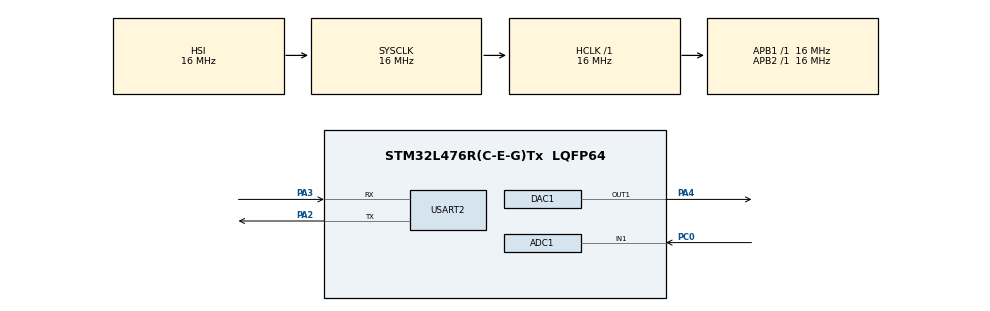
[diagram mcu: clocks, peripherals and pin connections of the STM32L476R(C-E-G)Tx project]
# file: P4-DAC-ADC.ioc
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ADC1.Channel-1\#ChannelRegularConversion=ADC_CHANNEL_1
ADC1.NbrOfConversionFlag=1
ADC1.OffsetNumber-1\#ChannelRegularConversion=ADC_OFFSET_NONE
ADC1.Rank-1\#ChannelRegularConversion=1
ADC1.SamplingTime-1\#ChannelRegularConversion=ADC_SAMPLETIME_2CYCLES_5
ADC1.master=1
Mcu.Family=STM32L4
Mcu.Name=STM32L476R(C-E-G)Tx
Mcu.Package=LQFP64
NVIC.PriorityGroup=NVIC_PRIORITYGROUP_4
NVIC.TIM2_IRQn=true\:0\:0\:false\:false\:true\:true\:true
PA2.Mode=Asynchronous
PA2.Signal=USART2_TX
PA3.Mode=Asynchronous
PA3.Signal=USART2_RX
PA4.Signal=COMP_DAC11_group
PC0.Signal=ADCx_IN1
ProjectManager.HeapSize=0x200
ProjectManager.StackSize=0x400
ProjectManager.TargetToolchain=STM32CubeIDE
RCC.ADCCLockSelection=RCC_ADCCLKSOURCE_SYSCLK
RCC.ADCFreq_Value=16000000
RCC.AHBFreq_Value=16000000
RCC.APB1Freq_Value=16000000
RCC.APB1TimFreq_Value=16000000
RCC.APB2Freq_Value=16000000
RCC.APB2TimFreq_Value=16000000
RCC.CortexFreq_Value=16000000
RCC.HCLKFreq_Value=16000000
RCC.HSE_VALUE=8000000
RCC.HSI_VALUE=16000000
RCC.LSE_VALUE=32768
RCC.MSI_VALUE=4000000
RCC.PLLSAI1N=16
RCC.SYSCLKFreq_VALUE=16000000
RCC.SYSCLKSource=RCC_SYSCLKSOURCE_HSI
RCC.USBFreq_Value=32000000
RCC.VCOOutputFreq_Value=32000000
SH.ADCx_IN1.0=ADC1_IN1,IN1-Single-Ended
SH.COMP_DAC11_group.0=DAC1_OUT1,DAC_OUT1
TIM2.Prescaler=0
USART2.VirtualMode-Asynchronous=VM_ASYNC
VP_TIM2_VS_ClockSourceINT.Mode=Internal
board=custom

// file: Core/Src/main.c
/* USER CODE BEGIN Header */
/**
  ******************************************************************************
  * @file           : main.c
  * @brief          : Main program body
  ******************************************************************************
  * @attention
  *
  * <h2><center>&copy; Copyright (c) 2021 STMicroelectronics.
  * All rights reserved.</center></h2>
  *
  * This software component is licensed by ST under BSD 3-Clause license,
  * the "License"; You may not use this file except in compliance with the
  * License. You may obtain a copy of the License at:
  *                        opensource.org/licenses/BSD-3-Clause
  *
  ******************************************************************************
  */
/* USER CODE END Header */
#include "main.h"

ADC_HandleTypeDef hadc1;

DAC_HandleTypeDef hdac1;

TIM_HandleTypeDef htim2;

UART_HandleTypeDef huart2;

/* USER CODE BEGIN PV */
// Triangle wave buffer containing all 8192 samples of the triangle wave.
uint16_t tri_wave[8192];
// Control signals used in both main and timer interrupt methods.
int sampling_en = 1;
int num_samples = 0;
int iter = 1;
int new_iter = 1;
/* USER CODE END PV */

void SystemClock_Config(void);
static void MX_GPIO_Init(void);
static void MX_ADC1_Init(void);
static void MX_DAC1_Init(void);
static void MX_TIM2_Init(void);
static void MX_USART2_UART_Init(void);

int main(void)
{

  /* MCU Configuration--------------------------------------------------------*/

  /* Reset of all peripherals, Initializes the Flash interface and the Systick. */
  HAL_Init();

  /* Configure the system clock */
  SystemClock_Config();

  /* Initialize all configured peripherals */
  MX_GPIO_Init();
  MX_ADC1_Init();
  MX_DAC1_Init();
  MX_TIM2_Init();
  MX_USART2_UART_Init();
  /* USER CODE BEGIN 2 */
  println("P4-DAC-ADC by Chris Abajian (cxa6282@rit.edu)");
  /* USER CODE END 2 */

  /* Infinite loop */
  /* USER CODE BEGIN WHILE */
  // Load the initial triangle wave to a buffer.
  for (int i = 0; i < 4096; i++) {
	  tri_wave[i] = i;
	  tri_wave[8191-i] = i;
  }

  // Start the timer.
  htim2.Instance->CR1 |= TIM_CR1_CEN;

  // Loop variables.
  uwTick = 0;
  uint32_t prev_tick = HAL_GetTick();

  while (1) {
    /* USER CODE END WHILE */

    /* USER CODE BEGIN 3 */
	// Print every 2ms.
	uint32_t now = HAL_GetTick();
	if ((now - prev_tick) >= 2) {
		prev_tick = now;
		// Print to the terminal on the 1st and 10th iterations.
		if (sampling_en && ((iter == 1) || (iter == 10)) && (num_samples > 0)) {
			char buff[64];
			if (new_iter) {
				new_iter = 0;
				sprintf(buff, "\r\nITERATION %d\r\nTIME,DAC,ADC", iter);
				println(buff);
			}
			sprintf(buff, "%ldms,%ld,%d", now, hdac1.Instance->DHR12R1, tri_wave[num_samples-1]);
			println(buff);
		}
	}
  }
  /* USER CODE END 3 */
}

void SystemClock_Config(void)
{
  RCC_OscInitTypeDef RCC_OscInitStruct = {0};
  RCC_ClkInitTypeDef RCC_ClkInitStruct = {0};

  /** Configure the main internal regulator output voltage
  */
  if (HAL_PWREx_ControlVoltageScaling(PWR_REGULATOR_VOLTAGE_SCALE1) != HAL_OK)
  {
    Error_Handler();
  }
  /** Initializes the RCC Oscillators according to the specified parameters
  * in the RCC_OscInitTypeDef structure.
  */
  RCC_OscInitStruct.OscillatorType = RCC_OSCILLATORTYPE_HSI;
  RCC_OscInitStruct.HSIState = RCC_HSI_ON;
  RCC_OscInitStruct.HSICalibrationValue = RCC_HSICALIBRATION_DEFAULT;
  RCC_OscInitStruct.PLL.PLLState = RCC_PLL_NONE;
  if (HAL_RCC_OscConfig(&RCC_OscInitStruct) != HAL_OK)
  {
    Error_Handler();
  }
  /** Initializes the CPU, AHB and APB buses clocks
  */
  RCC_ClkInitStruct.ClockType = RCC_CLOCKTYPE_HCLK|RCC_CLOCKTYPE_SYSCLK
                              |RCC_CLOCKTYPE_PCLK1|RCC_CLOCKTYPE_PCLK2;
  RCC_ClkInitStruct.SYSCLKSource = RCC_SYSCLKSOURCE_HSI;
  RCC_ClkInitStruct.AHBCLKDivider = RCC_SYSCLK_DIV1;
  RCC_ClkInitStruct.APB1CLKDivider = RCC_HCLK_DIV1;
  RCC_ClkInitStruct.APB2CLKDivider = RCC_HCLK_DIV1;

  if (HAL_RCC_ClockConfig(&RCC_ClkInitStruct, FLASH_LATENCY_0) != HAL_OK)
  {
    Error_Handler();
  }
}

static void MX_ADC1_Init(void)
{

  ADC_MultiModeTypeDef multimode = {0};
  ADC_ChannelConfTypeDef sConfig = {0};

  /** Common config
  */
  hadc1.Instance = ADC1;
  hadc1.Init.ClockPrescaler = ADC_CLOCK_ASYNC_DIV1;
  hadc1.Init.Resolution = ADC_RESOLUTION_12B;
  hadc1.Init.DataAlign = ADC_DATAALIGN_RIGHT;
  hadc1.Init.ScanConvMode = ADC_SCAN_DISABLE;
  hadc1.Init.EOCSelection = ADC_EOC_SINGLE_CONV;
  hadc1.Init.LowPowerAutoWait = DISABLE;
  hadc1.Init.ContinuousConvMode = DISABLE;
  hadc1.Init.NbrOfConversion = 1;
  hadc1.Init.DiscontinuousConvMode = DISABLE;
  hadc1.Init.ExternalTrigConv = ADC_SOFTWARE_START;
  hadc1.Init.ExternalTrigConvEdge = ADC_EXTERNALTRIGCONVEDGE_NONE;
  hadc1.Init.DMAContinuousRequests = DISABLE;
  hadc1.Init.Overrun = ADC_OVR_DATA_PRESERVED;
  hadc1.Init.OversamplingMode = DISABLE;
  if (HAL_ADC_Init(&hadc1) != HAL_OK)
  {
    Error_Handler();
  }
  /** Configure the ADC multi-mode
  */
  multimode.Mode = ADC_MODE_INDEPENDENT;
  if (HAL_ADCEx_MultiModeConfigChannel(&hadc1, &multimode) != HAL_OK)
  {
    Error_Handler();
  }
  /** Configure Regular Channel
  */
  sConfig.Channel = ADC_CHANNEL_1;
  sConfig.Rank = ADC_REGULAR_RANK_1;
  sConfig.SamplingTime = ADC_SAMPLETIME_2CYCLES_5;
  sConfig.SingleDiff = ADC_SINGLE_ENDED;
  sConfig.OffsetNumber = ADC_OFFSET_NONE;
  sConfig.Offset = 0;
  if (HAL_ADC_ConfigChannel(&hadc1, &sConfig) != HAL_OK)
  {
    Error_Handler();
  }
  /* USER CODE BEGIN ADC1_Init 2 */
  HAL_ADCEx_Calibration_Start(&hadc1, ADC_SINGLE_ENDED);
  HAL_ADC_Start(&hadc1);
  /* USER CODE END ADC1_Init 2 */

}

static void MX_DAC1_Init(void)
{

  DAC_ChannelConfTypeDef sConfig = {0};

  /** DAC Initialization
  */
  hdac1.Instance = DAC1;
  if (HAL_DAC_Init(&hdac1) != HAL_OK)
  {
    Error_Handler();
  }
  /** DAC channel OUT1 config
  */
  sConfig.DAC_SampleAndHold = DAC_SAMPLEANDHOLD_DISABLE;
  sConfig.DAC_Trigger = DAC_TRIGGER_NONE;
  sConfig.DAC_OutputBuffer = DAC_OUTPUTBUFFER_ENABLE;
  sConfig.DAC_ConnectOnChipPeripheral = DAC_CHIPCONNECT_DISABLE;
  sConfig.DAC_UserTrimming = DAC_TRIMMING_FACTORY;
  if (HAL_DAC_ConfigChannel(&hdac1, &sConfig, DAC_CHANNEL_1) != HAL_OK)
  {
    Error_Handler();
  }
  /* USER CODE BEGIN DAC1_Init 2 */
  // Generate max amplitude (4096) triangle waves using software trigger.
//  hdac1.Instance->CR |= DAC_CR_MAMP1;
//  hdac1.Instance->CR |= DAC_CR_WAVE1_1;
  hdac1.Instance->CR |= DAC_CR_TSEL1;
  hdac1.Instance->CR |= DAC_CR_TEN1;
  HAL_DAC_Start(&hdac1, DAC_CHANNEL_1);
  /* USER CODE END DAC1_Init 2 */

}

static void MX_TIM2_Init(void)
{

  TIM_ClockConfigTypeDef sClockSourceConfig = {0};
  TIM_MasterConfigTypeDef sMasterConfig = {0};

  htim2.Instance = TIM2;
  htim2.Init.Prescaler = 0;
  htim2.Init.CounterMode = TIM_COUNTERMODE_UP;
  htim2.Init.Period = 4294967295;
  htim2.Init.ClockDivision = TIM_CLOCKDIVISION_DIV1;
  htim2.Init.AutoReloadPreload = TIM_AUTORELOAD_PRELOAD_DISABLE;
  if (HAL_TIM_Base_Init(&htim2) != HAL_OK)
  {
    Error_Handler();
  }
  sClockSourceConfig.ClockSource = TIM_CLOCKSOURCE_INTERNAL;
  if (HAL_TIM_ConfigClockSource(&htim2, &sClockSourceConfig) != HAL_OK)
  {
    Error_Handler();
  }
  sMasterConfig.MasterOutputTrigger = TIM_TRGO_RESET;
  sMasterConfig.MasterSlaveMode = TIM_MASTERSLAVEMODE_DISABLE;
  if (HAL_TIMEx_MasterConfigSynchronization(&htim2, &sMasterConfig) != HAL_OK)
  {
    Error_Handler();
  }
  /* USER CODE BEGIN TIM2_Init 2 */
  // Generate interrupts for each DAC sample (122.07us/sample).
  htim2.Instance->ARR = 1952; // 122.07*16 - 1
  // NVIC
  NVIC_EnableIRQ(TIM2_IRQn);
  // Clear interrupts.
  htim2.Instance->SR = 0;
  // Enable interrupts.
  htim2.Instance->DIER |= TIM_DIER_UIE;
  /* USER CODE END TIM2_Init 2 */

}

static void MX_USART2_UART_Init(void)
{

  huart2.Instance = USART2;
  huart2.Init.BaudRate = 115200;
  huart2.Init.WordLength = UART_WORDLENGTH_8B;
  huart2.Init.StopBits = UART_STOPBITS_1;
  huart2.Init.Parity = UART_PARITY_NONE;
  huart2.Init.Mode = UART_MODE_TX_RX;
  huart2.Init.HwFlowCtl = UART_HWCONTROL_NONE;
  huart2.Init.OverSampling = UART_OVERSAMPLING_16;
  huart2.Init.OneBitSampling = UART_ONE_BIT_SAMPLE_DISABLE;
  huart2.AdvancedInit.AdvFeatureInit = UART_ADVFEATURE_NO_INIT;
  if (HAL_UART_Init(&huart2) != HAL_OK)
  {
    Error_Handler();
  }

}

static void MX_GPIO_Init(void)
{

  /* GPIO Ports Clock Enable */
  __HAL_RCC_GPIOC_CLK_ENABLE();
  __HAL_RCC_GPIOA_CLK_ENABLE();

}

/* USER CODE BEGIN 4 */
/**
 * Prints the provided string to the terminal using USART2.
 */
void print(char *str) {
	HAL_UART_Transmit(&huart2, (uint8_t *)str, strnlen(str, 256), 100);
}

/**
 * Prints the provided string and a CRLF to the terminal using USART2.
 */
void println(char *str) {
	print(str);
	print("\r\n");
}
/* USER CODE END 4 */

void Error_Handler(void)
{
  __disable_irq();
  while (1)
  {
  }
}

/************************ (C) COPYRIGHT STMicroelectronics *****END OF FILE****/
